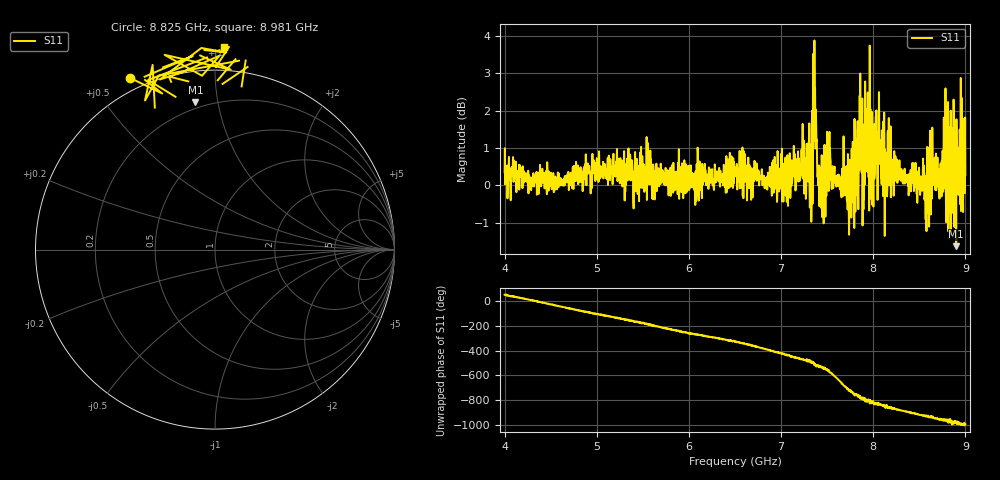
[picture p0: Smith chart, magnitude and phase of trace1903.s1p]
! Created with skrf 1.8.0 (http://scikit-rf.org).
# Hz S RI R 50.0
!freq ReS11 ImS11
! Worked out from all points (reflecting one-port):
!   1601 points, 4 GHz to 9 GHz, reference 50 ohm
!   lowest |S11| = -1.6 dB at 8.9 GHz (marker M1), VSWR 10.69, Z = 8.21 + j43.1 ohm
!   phase of S11 starts at 51 deg and turns -1045 deg over the sweep
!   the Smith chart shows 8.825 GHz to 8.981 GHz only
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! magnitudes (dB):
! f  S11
! 4 GHz  0.4
! 4.625 GHz  0.0
! 5.25 GHz  0.1
! 5.875 GHz  0.1
! 6.5 GHz  0.4
! 7.125 GHz  0.4
! 7.306 GHz  1.7
! 7.359 GHz  2.2
! 7.372 GHz  1.5
! 7.412 GHz  -0.3
! 7.438 GHz  -0.6
! 7.512 GHz  0.6
! 7.65 GHz  -0.2
! 7.75 GHz  0.1
! 7.844 GHz  0.3
! 7.909 GHz  0.0
! 7.938 GHz  0.7
! 7.997 GHz  0.3
! 8.05 GHz  1.4
! 8.375 GHz  0.1
! 8.581 GHz  0.1
! 8.666 GHz  0.2
! 8.738 GHz  0.4
! 8.788 GHz  -0.2
! 8.841 GHz  2.0
! 8.9 GHz  -1.6
! 8.959 GHz  2.3
! 9 GHz  0.3
